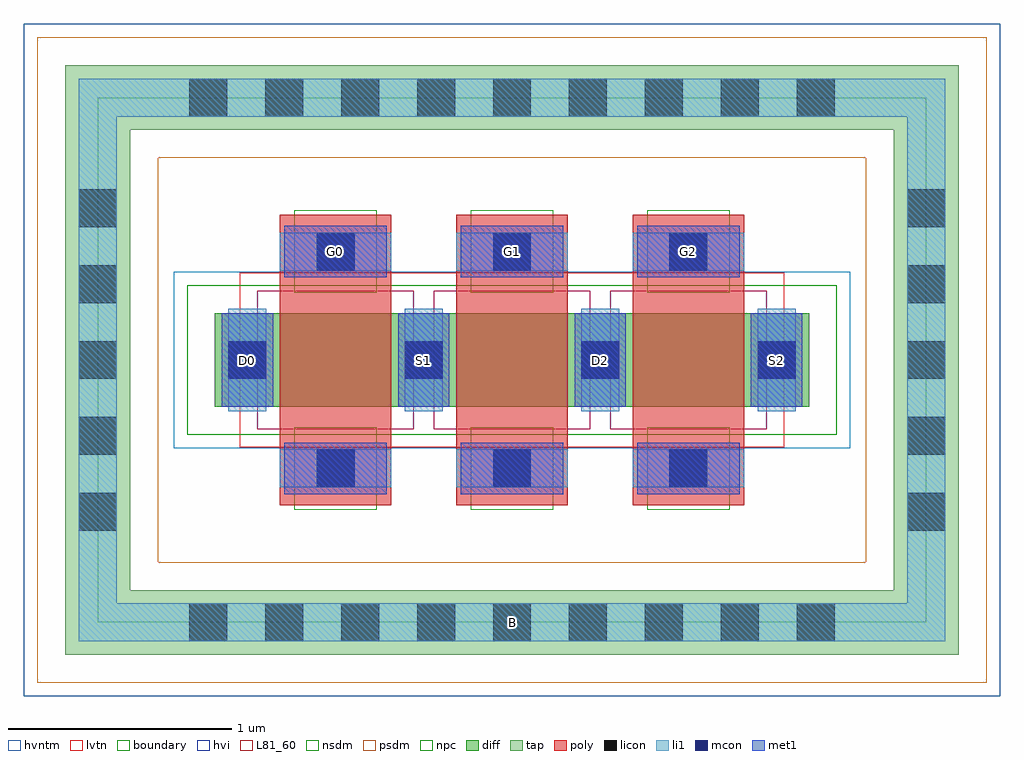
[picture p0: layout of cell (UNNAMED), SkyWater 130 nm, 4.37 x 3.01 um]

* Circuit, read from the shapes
.subckt (UNNAMED) B D0 D2 G0 G1 G2 S1 S2
XM1 S1 G0 D0 B sky130_fd_pr__nfet_05v0_nvt w=0.42 l=0.5
XM2 D2 G1 S1 B sky130_fd_pr__nfet_05v0_nvt w=0.42 l=0.5
XM3 S2 G2 D2 B sky130_fd_pr__nfet_05v0_nvt w=0.42 l=0.5
.ends

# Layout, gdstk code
import gdstk
lib = gdstk.Library(unit=1e-6, precision=1e-09)
def R(c, l, rs):  # rectangles x0, y0, x1, y1
    for r in rs: c.add(gdstk.rectangle(r[:2], r[2:], *l))
def A(c, l, x, y, w, h, nx, ny, dx, dy):  # array of equal rectangles
    R(c, l, [(x+i*dx, y+j*dy, x+i*dx+w, y+j*dy+h) for i in range(nx) for j in range(ny)])
diff = (65, 20)
tap = (65, 44)
poly = (66, 20)
licon = (66, 44)
li1 = (67, 20)
mcon = (67, 44)
met1 = (68, 20)
hvi = (75, 20)
L81_60 = (81, 60)
nsdm = (93, 44)
psdm = (94, 20)
npc = (95, 20)
hvntm = (125, 20)
lvtn = (125, 44)
boundary = (235, 4)

c__unnamed_ = lib.new_cell('(UNNAMED)')
R(c__unnamed_, diff, [(-1.33,-0.21,1.33,0.21)])
R(c__unnamed_, tap, [(-2,-1.32,2,-1.03), (-2,-1.03,-1.71,1.03), (1.71,-1.03,2,1.03), (-2,1.03,2,1.32)])
A(c__unnamed_, poly, -1.04, -0.65, 0.5, 1.3, 3, 1, 0.79, 0)
A(c__unnamed_, licon, -1.445, -1.26, 0.17, 0.17, 9, 2, 0.34, 2.35)
A(c__unnamed_, licon, -1.94, -0.765, 0.17, 0.17, 1, 5, 0, 0.34)
A(c__unnamed_, licon, 1.77, -0.765, 0.17, 0.17, 1, 5, 0, 0.34)
A(c__unnamed_, licon, -0.875, -0.57, 0.17, 0.17, 3, 2, 0.79, 0.97)
A(c__unnamed_, licon, -1.27, -0.085, 0.17, 0.17, 4, 1, 0.79, 0)
A(c__unnamed_, li1, -1.04, -0.57, 0.5, 0.17, 3, 2, 0.79, 0.97)
A(c__unnamed_, li1, -1.27, -0.23, 0.17, 0.46, 4, 1, 0.79, 0)
R(c__unnamed_, li1, [(-1.94,-1.26,1.94,-1.09), (-1.94,-1.09,-1.77,1.09), (1.77,-1.09,1.94,1.09), (-1.94,1.09,1.94,1.26)])
A(c__unnamed_, mcon, -0.875, -0.57, 0.17, 0.17, 3, 2, 0.79, 0.97)
A(c__unnamed_, mcon, -1.27, -0.085, 0.17, 0.17, 4, 1, 0.79, 0)
A(c__unnamed_, met1, -1.02, -0.6, 0.46, 0.23, 3, 2, 0.79, 0.97)
A(c__unnamed_, met1, -1.3, -0.21, 0.23, 0.42, 4, 1, 0.79, 0)
R(c__unnamed_, hvi, [(-2.185,-1.505,2.185,1.505)])
A(c__unnamed_, L81_60, -1.14, -0.31, 0.7, 0.62, 3, 1, 0.79, 0)
R(c__unnamed_, nsdm, [(-1.455,-0.335,1.455,0.335)])
R(c__unnamed_, psdm, [(-2.125,-1.445,2.125,-0.905), (-2.125,-0.905,-1.585,0.905), (1.585,-0.905,2.125,0.905), (-2.125,0.905,2.125,1.445)])
A(c__unnamed_, npc, -0.975, -0.67, 0.37, 0.37, 3, 2, 0.79, 0.97)
R(c__unnamed_, hvntm, [(-1.515,-0.395,1.515,0.395)])
R(c__unnamed_, lvtn, [(-1.22,-0.39,1.22,0.39)])
R(c__unnamed_, boundary, [(-1.855,-1.175,1.855,1.175)])
c__unnamed_.add(gdstk.Label('B', (0,-1.175), layer=67, texttype=5))
c__unnamed_.add(gdstk.Label('D0', (-1.185,0), layer=67, texttype=5))
c__unnamed_.add(gdstk.Label('G0', (-0.79,0.485), layer=67, texttype=5))
c__unnamed_.add(gdstk.Label('S1', (-0.395,0), layer=67, texttype=5))
c__unnamed_.add(gdstk.Label('G1', (0,0.485), layer=67, texttype=5))
c__unnamed_.add(gdstk.Label('D2', (0.395,0), layer=67, texttype=5))
c__unnamed_.add(gdstk.Label('S2', (1.185,0), layer=67, texttype=5))
c__unnamed_.add(gdstk.Label('G2', (0.79,0.485), layer=67, texttype=5))

lib.write_gds('_UNNAMED_.gds')
